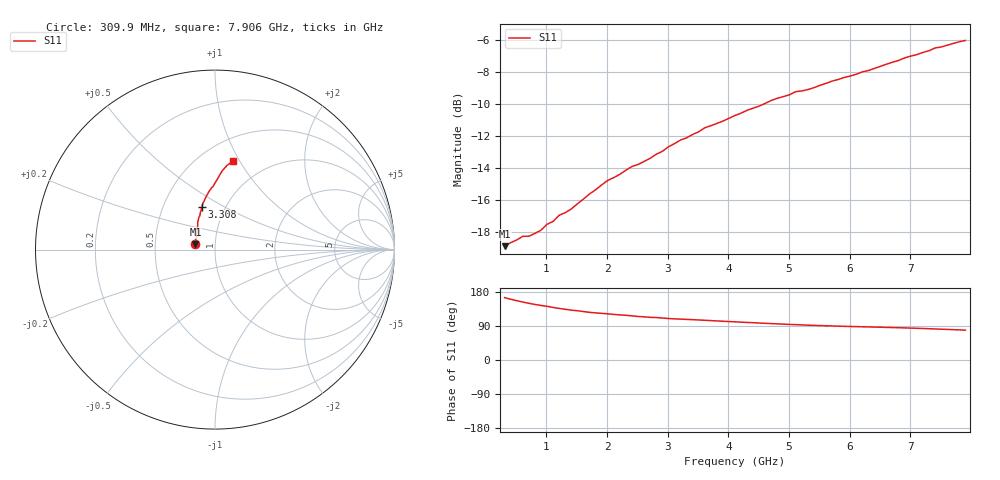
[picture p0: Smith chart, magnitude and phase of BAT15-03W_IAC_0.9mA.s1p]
! Infineon Technologies  Discrete & RF Semiconductors
! BAT15-03W-E6327
! IAC = 0.9 mA
! One-Port S-Parameters
# Hz  S  MA  R  50
!f  S11
!Hz  Mag  Ang
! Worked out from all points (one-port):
!   77 points, 309.9 MHz to 7.906 GHz, reference 50 ohm
!   lowest |S11| = -18.9 dB at 309.9 MHz (marker M1), VSWR 1.26, Z = 40.1 + j2.44 ohm
!   |S11| at or under -10 dB: start of sweep to 4.581 GHz
!   S11 on the Smith chart (normalised r, x): 309.9 MHz: 0.80, +0.05; 3.308 GHz: 0.78, +0.39; 7.906 GHz: 0.71, +0.93
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3.0985e8  0.1133 164.6
6.097e8  0.1217 152.9
7.0965e8  0.1217 149.6
9.0955e8  0.1272 144.0
1.0095e9  0.1327 141.6
1.10945e9  0.1355 138.7
1.2094e9  0.1416 136.1
1.30935e9  0.1443 133.8
1.4093e9  0.1482 131.5
1.70915e9  0.1652 125.7
2.009e9  0.1821 121.8
2.2089e9  0.1903 119.0
2.4088e9  0.2015 116.5
2.50875e9  0.2043 114.9
2.70865e9  0.2137 112.6
3.2084e9  0.2438 108.0
3.30835e9  0.2477 107.1
3.6082e9  0.2663 104.8
4.10795e9  0.2912 100.7
4.70765e9  0.3247 96.1
5.0075e9  0.3383 93.9
5.10745e9  0.3458 93.3
5.30735e9  0.351 91.9
6.007e9  0.3871 88.5
6.50675e9  0.4153 86.5
7.0065e9  0.4473 84.2
7.4063e9  0.4741 81.9
7.90605e9  0.5006 78.8
